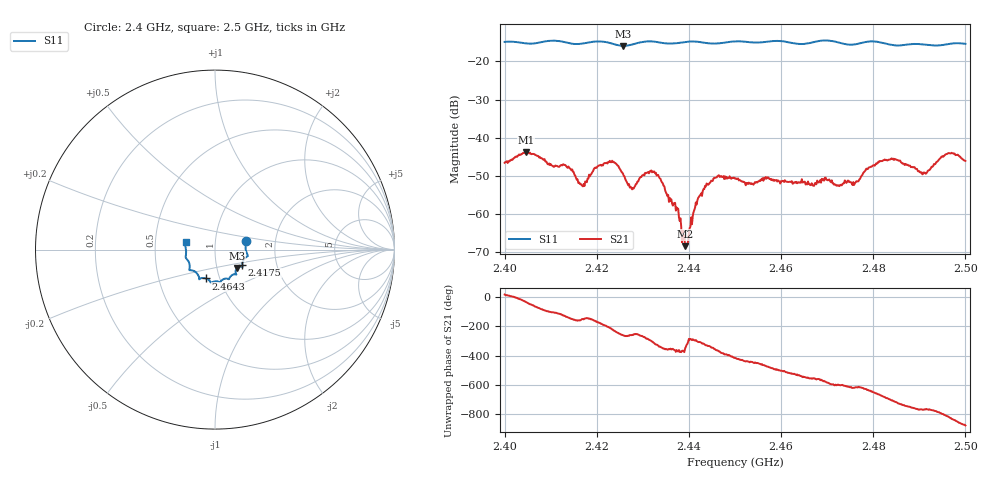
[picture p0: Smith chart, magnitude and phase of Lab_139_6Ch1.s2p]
# Hz S RI R 50
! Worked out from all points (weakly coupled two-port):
!   601 points, 2.4 GHz to 2.5 GHz, reference 50 ohm
!   highest |S21| = -43.72 dB at 2.4047 GHz (marker M1); lowest = -68.4 dB at 2.4392 GHz (marker M2)
!   lowest |S11| = -15.9 dB at 2.4257 GHz (marker M3), VSWR 1.38, Z = 62.5 - j13.1 ohm
!   |S11| at or under -10 dB: start of sweep to end of sweep
!   S12 and S22 are empty: the file has one direction only
!   S11 on the Smith chart (normalised r, x): 2.4 GHz: 1.41, +0.14; 2.4175 GHz: 1.34, -0.23; 2.4643 GHz: 0.86, -0.28; 2.5 GHz: 0.72, +0.06
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2.4e9  0.1732 0.0484  0.00447 0.00147  0 0  0 0
2.404667e9  0.1709 0.0179  0.00544 -0.00358  0 0  0 0
2.4135e9  0.1704 -0.0437  -0.00294 -0.00294  0 0  0 0
2.416667e9  0.1531 -0.0744  -0.00216 -0.00107  0 0  0 0
2.4175e9  0.1519 -0.0838  -0.00224 -0.00149  0 0  0 0
2.423e9  0.1451 -0.0945  -0.00399 0.00266  0 0  0 0
2.425667e9  0.1228 -0.1019  -0.000579 0.00339  0 0  0 0
2.427667e9  0.1149 -0.1201  -0.000418 0.00207  0 0  0 0
2.431e9  0.119 -0.1385  0.000888 0.0034  0 0  0 0
2.433333e9  0.113 -0.1374  0.00291 0.00146  0 0  0 0
2.437167e9  0.0862 -0.1495  0.00108 -0.000289  0 0  0 0
2.439167e9  0.0797 -0.1601  0.000379 4.89e-05  0 0  0 0
2.441667e9  0.0754 -0.1646  0.000679 0.00116  0 0  0 0
2.4435e9  0.0665 -0.1615  0.00197 0.00128  0 0  0 0
2.45e9  0.0287 -0.1808  0.0016 -0.00245  0 0  0 0
2.464333e9  -0.0504 -0.1608  -0.00259 4.77e-05  0 0  0 0
2.466667e9  -0.0761 -0.159  -0.00239 0.000856  0 0  0 0
2.476e9  -0.1161 -0.1195  -0.000457 0.0025  0 0  0 0
2.483333e9  -0.1409 -0.09  0.00482 0.00189  0 0  0 0
2.491167e9  -0.1624 -0.0327  0.00224 -0.00271  0 0  0 0
2.496167e9  -0.1667 0.0209  -0.000899 -0.00617  0 0  0 0
2.5e9  -0.1641 0.0427  -0.00469 -0.00172  0 0  0 0
